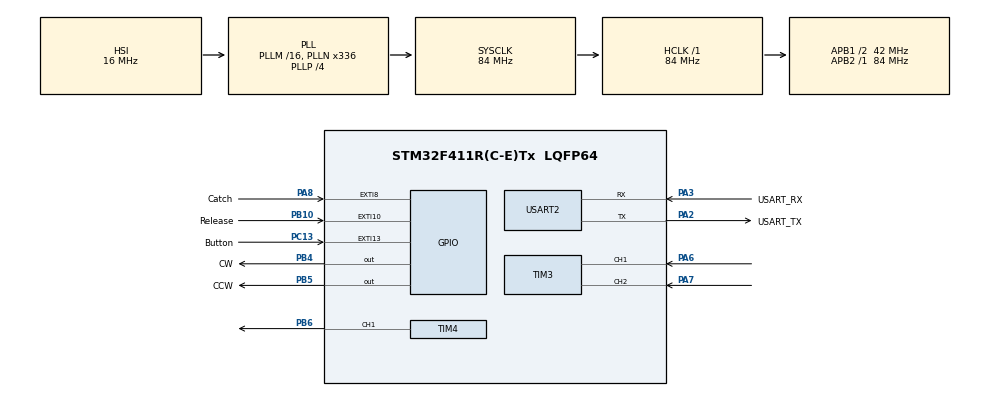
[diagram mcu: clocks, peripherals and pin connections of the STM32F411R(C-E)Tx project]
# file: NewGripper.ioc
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Mcu.Family=STM32F4
Mcu.Name=STM32F411R(C-E)Tx
Mcu.Package=LQFP64
NVIC.EXTI15_10_IRQn=true\:0\:0\:false\:false\:true\:true\:true\:true
NVIC.EXTI9_5_IRQn=true\:0\:0\:false\:false\:true\:true\:true\:true
NVIC.PriorityGroup=NVIC_PRIORITYGROUP_0
NVIC.TIM2_IRQn=true\:0\:0\:false\:false\:true\:true\:true\:true
PA13.GPIO_Label=TMS
PA13.Mode=Serial_Wire
PA13.Signal=SYS_JTMS-SWDIO
PA14.GPIO_Label=TCK
PA14.Mode=Serial_Wire
PA14.Signal=SYS_JTCK-SWCLK
PA2.GPIO_Label=USART_TX
PA2.Mode=Asynchronous
PA2.Signal=USART2_TX
PA3.GPIO_Label=USART_RX
PA3.Mode=Asynchronous
PA3.Signal=USART2_RX
PA6.Signal=S_TIM3_CH1
PA7.Signal=S_TIM3_CH2
PA8.GPIO_Label=Catch
PA8.Signal=GPXTI8
PB10.GPIO_Label=Release
PB10.Signal=GPXTI10
PB3.GPIO_Label=SWO
PB3.Signal=SYS_JTDO-SWO
PB4.GPIO_Label=CW
PB4.GPIO_PuPd=GPIO_PULLDOWN
PB4.PinState=GPIO_PIN_RESET
PB4.Signal=GPIO_Output
PB5.GPIO_Label=CCW
PB5.GPIO_PuPd=GPIO_PULLDOWN
PB5.PinState=GPIO_PIN_RESET
PB5.Signal=GPIO_Output
PB6.Signal=S_TIM4_CH1
PC13-ANTI_TAMP.GPIO_Label=Button
PC13-ANTI_TAMP.GPIO_ModeDefaultEXTI=GPIO_MODE_IT_FALLING
PC13-ANTI_TAMP.Signal=GPXTI13
PC14-OSC32_IN.Mode=LSE-External-Oscillator
PC14-OSC32_IN.Signal=RCC_OSC32_IN
PC15-OSC32_OUT.Mode=LSE-External-Oscillator
PC15-OSC32_OUT.Signal=RCC_OSC32_OUT
PH0\ -\ OSC_IN.Mode=HSE-External-Clock-Source
PH0\ -\ OSC_IN.Signal=RCC_OSC_IN
PH1\ -\ OSC_OUT.Mode=HSE-External-Clock-Source
PH1\ -\ OSC_OUT.Signal=RCC_OSC_OUT
ProjectManager.HeapSize=0x200
ProjectManager.StackSize=0x400
ProjectManager.TargetToolchain=STM32CubeIDE
RCC.48MHZClocksFreq_Value=84000000
RCC.AHBFreq_Value=84000000
RCC.APB1CLKDivider=RCC_HCLK_DIV2
RCC.APB1Freq_Value=42000000
RCC.APB1TimFreq_Value=84000000
RCC.APB2Freq_Value=84000000
RCC.APB2TimFreq_Value=84000000
RCC.CortexFreq_Value=84000000
RCC.FLatency-AdvancedSettings=FLASH_LATENCY_2
RCC.HCLKFreq_Value=84000000
RCC.HSE_VALUE=8000000
RCC.HSI_VALUE=16000000
RCC.PLLN=336
RCC.PLLP=RCC_PLLP_DIV4
RCC.SYSCLKFreq_VALUE=84000000
RCC.SYSCLKSource=RCC_SYSCLKSOURCE_PLLCLK
RCC.VCOOutputFreq_Value=336000000
SH.S_TIM3_CH1.0=TIM3_CH1,Encoder_Interface
SH.S_TIM3_CH2.0=TIM3_CH2,Encoder_Interface
SH.S_TIM4_CH1.0=TIM4_CH1,PWM Generation1 CH1
TIM2.AutoReloadPreload=TIM_AUTORELOAD_PRELOAD_ENABLE
TIM2.Period=999
TIM2.Prescaler=83
TIM2.TIM_MasterOutputTrigger=TIM_TRGO_UPDATE
TIM3.EncoderMode=TIM_ENCODERMODE_TI12
TIM4.AutoReloadPreload=TIM_AUTORELOAD_PRELOAD_ENABLE
TIM4.Channel-PWM\ Generation1\ CH1=TIM_CHANNEL_1
TIM4.Period=999
TIM4.Prescaler=83
TIM4.Pulse-PWM\ Generation1\ CH1=499
TIM4.TIM_MasterOutputTrigger=TIM_TRGO_RESET
USART2.VirtualMode=VM_ASYNC
VP_TIM2_VS_ClockSourceINT.Mode=Internal
VP_TIM4_VS_ClockSourceINT.Mode=Internal
board=NUCLEO-F411RE

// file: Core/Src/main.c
/* USER CODE BEGIN Header */
/**
  ******************************************************************************
  * @file           : main.c
  * @brief          : Main program body
  ******************************************************************************
  * @attention
  *
  * Copyright (c) 2024 STMicroelectronics.
  * All rights reserved.
  *
  * This software is licensed under terms that can be found in the LICENSE file
  * in the root directory of this software component.
  * If no LICENSE file comes with this software, it is provided AS-IS.
  *
  ******************************************************************************
  */
/* USER CODE END Header */
#include "main.h"

/* USER CODE BEGIN Includes */
#include <string.h>
#include<math.h>
/* USER CODE END Includes */

TIM_HandleTypeDef htim2;
TIM_HandleTypeDef htim3;
TIM_HandleTypeDef htim4;

UART_HandleTypeDef huart2;

/* USER CODE BEGIN PV */

typedef struct _pid{
	float Position_Expected;
	float Position_Desired;
	float Position_byEncoder;
	float Position_byEncoder_Previous;
	float Position_bySensor;
	float Position_Previous;
	float Error_Position_byEncoder;
	float Error_Position_byEncoder_Previous;
	float Error_Position_bySensor;
	float Error_Position_Previous;

	float Kp;
	float Ki;
	float Kd;

	uint32_t Pulse;
}pid;

typedef struct _flag{
	uint16_t GPIO_flag;
	uint16_t Catch_flag;

}flag;

uint32_t PreEncoder = 0;
uint32_t Encoder = 0;
int32_t AngularVelocity = 0;

float DutyRatio = 0;
float t = 0;
float dt = 0.001;
float c2mm = 0.01464612616;

pid PID;
flag FLAG;

/* USER CODE END PV */

void SystemClock_Config(void);
static void MX_GPIO_Init(void);
static void MX_USART2_UART_Init(void);
static void MX_TIM2_Init(void);
static void MX_TIM3_Init(void);
static void MX_TIM4_Init(void);

/* USER CODE BEGIN 0 */
void HAL_TIM_PeriodElapsedCallback(TIM_HandleTypeDef *htim)
{
	    /* 주기는 1000HZ = 0.001s  */
		if(htim->Instance == TIM2)
		{
			PreEncoder = Encoder;
			Encoder = TIM3 -> CNT;

			PID.Position_byEncoder_Previous = PID.Position_byEncoder;
			PID.Position_byEncoder = Encoder;
			t = t + dt;
		}
}

void HAL_GPIO_EXTI_Callback(uint16_t GPIO_Pin)
{
	if(GPIO_Pin == Button_Pin)
	{
		FLAG.GPIO_flag = 1;
	}else if(GPIO_Pin == Button_Pin && FLAG.Catch_flag == 1)
	{
		FLAG.GPIO_flag = 2;
	}
}

void invert_matrix(float matrix[2][2], float inv_matrix[2][2])
{
	float determinant = matrix[0][0] * matrix[1][1] - matrix[0][1] * matrix[1][0];
    if (determinant == 0)
    {
        return;
    }

    float inv_det = 1.0 / determinant;
    inv_matrix[0][0] =  matrix[1][1] * inv_det;
    inv_matrix[0][1] = -matrix[0][1] * inv_det;
    inv_matrix[1][0] = -matrix[1][0] * inv_det;
    inv_matrix[1][1] =  matrix[0][0] * inv_det;
}

void multiply_matrix_vector(float matrix[2][2], float vector[2], float result[2])
{
    result[0] = matrix[0][0] * vector[0] + matrix[0][1] * vector[1];
    result[1] = matrix[1][0] * vector[0] + matrix[1][1] * vector[1];
}

void Position_Calc(float Time_final, float Position_final, float Time_interval)
{
	float A[2][2] ={
	        {Time_final * Time_final * Time_final, Time_final * Time_final},
	        {3 * Time_final * Time_final, 2 * Time_final}
	    };

	float B[2] = {Position_final, 0};
	float inv_A[2][2];
	float x[2];

	invert_matrix(A, inv_A);
	multiply_matrix_vector(inv_A, B, x);

	float a = x[0];
	float b = x[1];

	PID.Position_Expected = a*Time_interval*Time_interval*Time_interval+b*Time_interval*Time_interval;
}

/* USER CODE END 0 */

int main(void)
{

  /* MCU Configuration--------------------------------------------------------*/

  /* Reset of all peripherals, Initializes the Flash interface and the Systick. */
   HAL_Init();

  /* Configure the system clock */
  SystemClock_Config();

  /* Initialize all configured peripherals */
  MX_GPIO_Init();
  MX_USART2_UART_Init();
  MX_TIM2_Init();
  MX_TIM3_Init();
  MX_TIM4_Init();
  /* USER CODE BEGIN 2 */
  HAL_TIM_Base_Start_IT(&htim2);
  HAL_TIM_PWM_Start(&htim4,TIM_CHANNEL_1);
  HAL_TIM_Encoder_Start_IT(&htim3, TIM_CHANNEL_ALL);

  /* USER CODE END 2 */

  /* Infinite loop */
  /* USER CODE BEGIN WHILE */
  while (1)
  {
	  PID.Kp = 8;
	  PID.Ki = 0.1;
	  PID.Kd = 0.3;

	  Position_Calc(1.5, 3413, t);

	  PID.Error_Position_byEncoder_Previous = PID.Error_Position_byEncoder;
	  HAL_Delay(1);
	  PID.Error_Position_byEncoder = PID.Position_Expected - PID.Position_byEncoder;

	  PID.Pulse = PID.Kp * PID.Error_Position_byEncoder
	  	  		+ PID.Ki * (PID.Error_Position_byEncoder + PID.Error_Position_byEncoder_Previous) * dt / 2
	  	  		+ PID.Kd * ( PID.Error_Position_byEncoder - PID.Error_Position_byEncoder_Previous) / dt;

	  htim4.Instance -> CCR1 = PID.Pulse;
	  DutyRatio = PID.Pulse / 100;

    /* USER CODE END WHILE */

  }
}

void SystemClock_Config(void)
{
  RCC_OscInitTypeDef RCC_OscInitStruct = {0};
  RCC_ClkInitTypeDef RCC_ClkInitStruct = {0};

  /** Configure the main internal regulator output voltage
  */
  __HAL_RCC_PWR_CLK_ENABLE();
  __HAL_PWR_VOLTAGESCALING_CONFIG(PWR_REGULATOR_VOLTAGE_SCALE1);

  /** Initializes the RCC Oscillators according to the specified parameters
  * in the RCC_OscInitTypeDef structure.
  */
  RCC_OscInitStruct.OscillatorType = RCC_OSCILLATORTYPE_HSI;
  RCC_OscInitStruct.HSIState = RCC_HSI_ON;
  RCC_OscInitStruct.HSICalibrationValue = RCC_HSICALIBRATION_DEFAULT;
  RCC_OscInitStruct.PLL.PLLState = RCC_PLL_ON;
  RCC_OscInitStruct.PLL.PLLSource = RCC_PLLSOURCE_HSI;
  RCC_OscInitStruct.PLL.PLLM = 16;
  RCC_OscInitStruct.PLL.PLLN = 336;
  RCC_OscInitStruct.PLL.PLLP = RCC_PLLP_DIV4;
  RCC_OscInitStruct.PLL.PLLQ = 4;
  if (HAL_RCC_OscConfig(&RCC_OscInitStruct) != HAL_OK)
  {
    Error_Handler();
  }

  /** Initializes the CPU, AHB and APB buses clocks
  */
  RCC_ClkInitStruct.ClockType = RCC_CLOCKTYPE_HCLK|RCC_CLOCKTYPE_SYSCLK
                              |RCC_CLOCKTYPE_PCLK1|RCC_CLOCKTYPE_PCLK2;
  RCC_ClkInitStruct.SYSCLKSource = RCC_SYSCLKSOURCE_PLLCLK;
  RCC_ClkInitStruct.AHBCLKDivider = RCC_SYSCLK_DIV1;
  RCC_ClkInitStruct.APB1CLKDivider = RCC_HCLK_DIV2;
  RCC_ClkInitStruct.APB2CLKDivider = RCC_HCLK_DIV1;

  if (HAL_RCC_ClockConfig(&RCC_ClkInitStruct, FLASH_LATENCY_2) != HAL_OK)
  {
    Error_Handler();
  }
}

static void MX_TIM2_Init(void)
{

  TIM_ClockConfigTypeDef sClockSourceConfig = {0};
  TIM_MasterConfigTypeDef sMasterConfig = {0};

  htim2.Instance = TIM2;
  htim2.Init.Prescaler = 83;
  htim2.Init.CounterMode = TIM_COUNTERMODE_UP;
  htim2.Init.Period = 999;
  htim2.Init.ClockDivision = TIM_CLOCKDIVISION_DIV1;
  htim2.Init.AutoReloadPreload = TIM_AUTORELOAD_PRELOAD_ENABLE;
  if (HAL_TIM_Base_Init(&htim2) != HAL_OK)
  {
    Error_Handler();
  }
  sClockSourceConfig.ClockSource = TIM_CLOCKSOURCE_INTERNAL;
  if (HAL_TIM_ConfigClockSource(&htim2, &sClockSourceConfig) != HAL_OK)
  {
    Error_Handler();
  }
  sMasterConfig.MasterOutputTrigger = TIM_TRGO_UPDATE;
  sMasterConfig.MasterSlaveMode = TIM_MASTERSLAVEMODE_DISABLE;
  if (HAL_TIMEx_MasterConfigSynchronization(&htim2, &sMasterConfig) != HAL_OK)
  {
    Error_Handler();
  }

}

static void MX_TIM3_Init(void)
{

  TIM_Encoder_InitTypeDef sConfig = {0};
  TIM_MasterConfigTypeDef sMasterConfig = {0};

  htim3.Instance = TIM3;
  htim3.Init.Prescaler = 0;
  htim3.Init.CounterMode = TIM_COUNTERMODE_UP;
  htim3.Init.Period = 65535;
  htim3.Init.ClockDivision = TIM_CLOCKDIVISION_DIV1;
  htim3.Init.AutoReloadPreload = TIM_AUTORELOAD_PRELOAD_DISABLE;
  sConfig.EncoderMode = TIM_ENCODERMODE_TI12;
  sConfig.IC1Polarity = TIM_ICPOLARITY_RISING;
  sConfig.IC1Selection = TIM_ICSELECTION_DIRECTTI;
  sConfig.IC1Prescaler = TIM_ICPSC_DIV1;
  sConfig.IC1Filter = 0;
  sConfig.IC2Polarity = TIM_ICPOLARITY_RISING;
  sConfig.IC2Selection = TIM_ICSELECTION_DIRECTTI;
  sConfig.IC2Prescaler = TIM_ICPSC_DIV1;
  sConfig.IC2Filter = 0;
  if (HAL_TIM_Encoder_Init(&htim3, &sConfig) != HAL_OK)
  {
    Error_Handler();
  }
  sMasterConfig.MasterOutputTrigger = TIM_TRGO_RESET;
  sMasterConfig.MasterSlaveMode = TIM_MASTERSLAVEMODE_DISABLE;
  if (HAL_TIMEx_MasterConfigSynchronization(&htim3, &sMasterConfig) != HAL_OK)
  {
    Error_Handler();
  }

}

static void MX_TIM4_Init(void)
{

  TIM_ClockConfigTypeDef sClockSourceConfig = {0};
  TIM_MasterConfigTypeDef sMasterConfig = {0};
  TIM_OC_InitTypeDef sConfigOC = {0};

  htim4.Instance = TIM4;
  htim4.Init.Prescaler = 83;
  htim4.Init.CounterMode = TIM_COUNTERMODE_UP;
  htim4.Init.Period = 999;
  htim4.Init.ClockDivision = TIM_CLOCKDIVISION_DIV1;
  htim4.Init.AutoReloadPreload = TIM_AUTORELOAD_PRELOAD_ENABLE;
  if (HAL_TIM_Base_Init(&htim4) != HAL_OK)
  {
    Error_Handler();
  }
  sClockSourceConfig.ClockSource = TIM_CLOCKSOURCE_INTERNAL;
  if (HAL_TIM_ConfigClockSource(&htim4, &sClockSourceConfig) != HAL_OK)
  {
    Error_Handler();
  }
  if (HAL_TIM_PWM_Init(&htim4) != HAL_OK)
  {
    Error_Handler();
  }
  sMasterConfig.MasterOutputTrigger = TIM_TRGO_RESET;
  sMasterConfig.MasterSlaveMode = TIM_MASTERSLAVEMODE_DISABLE;
  if (HAL_TIMEx_MasterConfigSynchronization(&htim4, &sMasterConfig) != HAL_OK)
  {
    Error_Handler();
  }
  sConfigOC.OCMode = TIM_OCMODE_PWM1;
  sConfigOC.Pulse = 499;
  sConfigOC.OCPolarity = TIM_OCPOLARITY_HIGH;
  sConfigOC.OCFastMode = TIM_OCFAST_DISABLE;
  if (HAL_TIM_PWM_ConfigChannel(&htim4, &sConfigOC, TIM_CHANNEL_1) != HAL_OK)
  {
    Error_Handler();
  }
  HAL_TIM_MspPostInit(&htim4);

}

static void MX_USART2_UART_Init(void)
{

  huart2.Instance = USART2;
  huart2.Init.BaudRate = 115200;
  huart2.Init.WordLength = UART_WORDLENGTH_8B;
  huart2.Init.StopBits = UART_STOPBITS_1;
  huart2.Init.Parity = UART_PARITY_NONE;
  huart2.Init.Mode = UART_MODE_TX_RX;
  huart2.Init.HwFlowCtl = UART_HWCONTROL_NONE;
  huart2.Init.OverSampling = UART_OVERSAMPLING_16;
  if (HAL_UART_Init(&huart2) != HAL_OK)
  {
    Error_Handler();
  }

}

static void MX_GPIO_Init(void)
{
  GPIO_InitTypeDef GPIO_InitStruct = {0};

  /* GPIO Ports Clock Enable */
  __HAL_RCC_GPIOC_CLK_ENABLE();
  __HAL_RCC_GPIOH_CLK_ENABLE();
  __HAL_RCC_GPIOA_CLK_ENABLE();
  __HAL_RCC_GPIOB_CLK_ENABLE();

  /*Configure GPIO pin Output Level */
  HAL_GPIO_WritePin(GPIOB, CW_Pin|CCW_Pin, GPIO_PIN_RESET);

  /*Configure GPIO pin : Button_Pin */
  GPIO_InitStruct.Pin = Button_Pin;
  GPIO_InitStruct.Mode = GPIO_MODE_IT_FALLING;
  GPIO_InitStruct.Pull = GPIO_NOPULL;
  HAL_GPIO_Init(Button_GPIO_Port, &GPIO_InitStruct);

  /*Configure GPIO pin : Release_Pin */
  GPIO_InitStruct.Pin = Release_Pin;
  GPIO_InitStruct.Mode = GPIO_MODE_IT_RISING;
  GPIO_InitStruct.Pull = GPIO_NOPULL;
  HAL_GPIO_Init(Release_GPIO_Port, &GPIO_InitStruct);

  /*Configure GPIO pin : Catch_Pin */
  GPIO_InitStruct.Pin = Catch_Pin;
  GPIO_InitStruct.Mode = GPIO_MODE_IT_RISING;
  GPIO_InitStruct.Pull = GPIO_NOPULL;
  HAL_GPIO_Init(Catch_GPIO_Port, &GPIO_InitStruct);

  /*Configure GPIO pins : CW_Pin CCW_Pin */
  GPIO_InitStruct.Pin = CW_Pin|CCW_Pin;
  GPIO_InitStruct.Mode = GPIO_MODE_OUTPUT_PP;
  GPIO_InitStruct.Pull = GPIO_PULLDOWN;
  GPIO_InitStruct.Speed = GPIO_SPEED_FREQ_LOW;
  HAL_GPIO_Init(GPIOB, &GPIO_InitStruct);

  /* EXTI interrupt init*/
  HAL_NVIC_SetPriority(EXTI9_5_IRQn, 0, 0);
  HAL_NVIC_EnableIRQ(EXTI9_5_IRQn);

  HAL_NVIC_SetPriority(EXTI15_10_IRQn, 0, 0);
  HAL_NVIC_EnableIRQ(EXTI15_10_IRQn);

}

void Error_Handler(void)
{
  __disable_irq();
  while (1)
  {
  }
}
